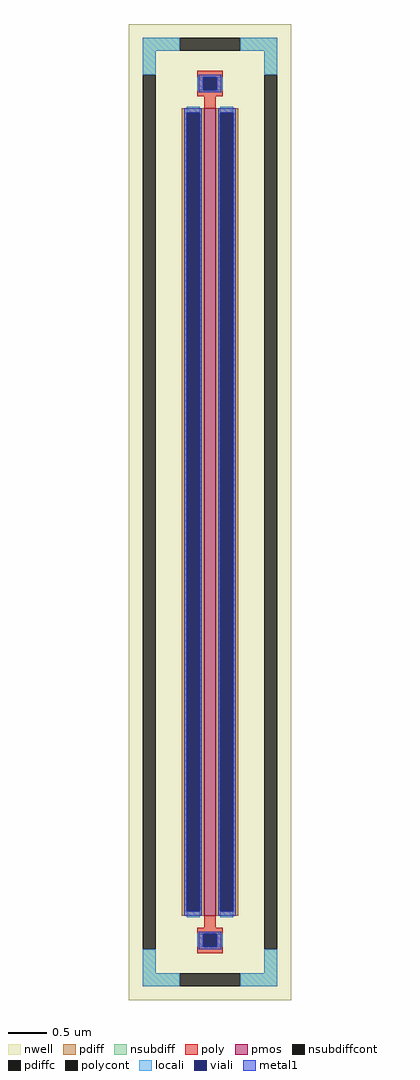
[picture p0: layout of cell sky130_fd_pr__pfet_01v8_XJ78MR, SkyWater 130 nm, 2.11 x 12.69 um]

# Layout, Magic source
magic
tech sky130A
magscale 1 2
<< nwell >>
rect -211 -1269 211 1269
<< pmos >>
rect -15 -1050 15 1050
<< pdiff >>
rect -73 1038 -15 1050
rect -73 -1038 -61 1038
rect -27 -1038 -15 1038
rect -73 -1050 -15 -1038
rect 15 1038 73 1050
rect 15 -1038 27 1038
rect 61 -1038 73 1038
rect 15 -1050 73 -1038
<< pdiffc >>
rect -61 -1038 -27 1038
rect 27 -1038 61 1038
<< nsubdiff >>
rect -175 1199 -79 1233
rect 79 1199 175 1233
rect -175 1137 -141 1199
rect 141 1137 175 1199
rect -175 -1199 -141 -1137
rect 141 -1199 175 -1137
rect -175 -1233 -79 -1199
rect 79 -1233 175 -1199
<< nsubdiffcont >>
rect -79 1199 79 1233
rect -175 -1137 -141 1137
rect 141 -1137 175 1137
rect -79 -1233 79 -1199
<< poly >>
rect -33 1131 33 1147
rect -33 1097 -17 1131
rect 17 1097 33 1131
rect -33 1081 33 1097
rect -15 1050 15 1081
rect -15 -1081 15 -1050
rect -33 -1097 33 -1081
rect -33 -1131 -17 -1097
rect 17 -1131 33 -1097
rect -33 -1147 33 -1131
<< polycont >>
rect -17 1097 17 1131
rect -17 -1131 17 -1097
<< locali >>
rect -175 1199 -79 1233
rect 79 1199 175 1233
rect -175 1137 -141 1199
rect 141 1137 175 1199
rect -33 1097 -17 1131
rect 17 1097 33 1131
rect -61 1038 -27 1054
rect -61 -1054 -27 -1038
rect 27 1038 61 1054
rect 27 -1054 61 -1038
rect -33 -1131 -17 -1097
rect 17 -1131 33 -1097
rect -175 -1199 -141 -1137
rect 141 -1199 175 -1137
rect -175 -1233 -79 -1199
rect 79 -1233 175 -1199
<< viali >>
rect -17 1097 17 1131
rect -61 -1038 -27 1038
rect 27 -1038 61 1038
rect -17 -1131 17 -1097
<< metal1 >>
rect -29 1131 29 1137
rect -29 1097 -17 1131
rect 17 1097 29 1131
rect -29 1091 29 1097
rect -67 1038 -21 1050
rect -67 -1038 -61 1038
rect -27 -1038 -21 1038
rect -67 -1050 -21 -1038
rect 21 1038 67 1050
rect 21 -1038 27 1038
rect 61 -1038 67 1038
rect 21 -1050 67 -1038
rect -29 -1097 29 -1091
rect -29 -1131 -17 -1097
rect 17 -1131 29 -1097
rect -29 -1137 29 -1131
<< properties >>
string FIXED_BBOX -158 -1216 158 1216
string gencell sky130_fd_pr__pfet_01v8
string library sky130
string parameters w 10.5 l 0.15 m 1 nf 1 diffcov 100 polycov 100 guard 1 glc 1 grc 1 gtc 1 gbc 1 tbcov 100 rlcov 100 topc 1 botc 1 poverlap 0 doverlap 1 lmin 0.15 wmin 0.42 compatible {sky130_fd_pr__pfet_01v8  sky130_fd_pr__pfet_01v8_lvt sky130_fd_pr__pfet_01v8_hvt  sky130_fd_pr__pfet_g5v0d10v5} full_metal 1 viasrc 100 viadrn 100 viagate 100 viagb 0 viagr 0 viagl 0 viagt 0
<< end >>
